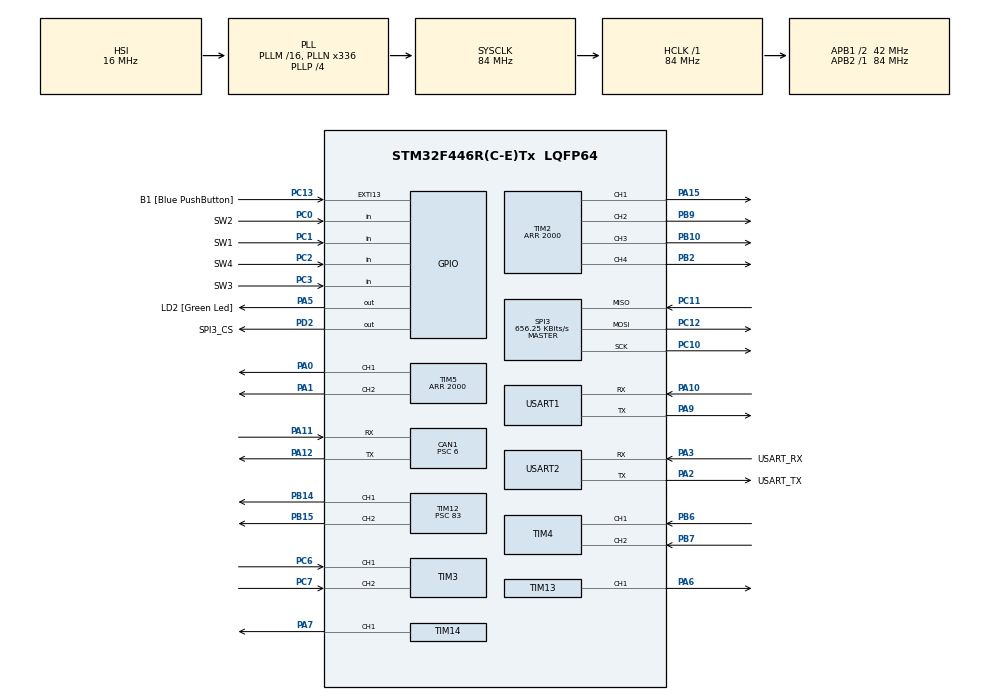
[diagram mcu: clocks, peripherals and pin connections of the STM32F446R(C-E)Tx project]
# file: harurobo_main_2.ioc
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CAN1.BS1=CAN_BS1_11TQ
CAN1.BS2=CAN_BS2_2TQ
CAN1.CalculateBaudRate=500000
CAN1.CalculateTimeBit=2000
CAN1.CalculateTimeQuantum=142.85714285714286
CAN1.Prescaler=6
Mcu.Family=STM32F4
Mcu.Name=STM32F446R(C-E)Tx
Mcu.Package=LQFP64
NVIC.PriorityGroup=NVIC_PRIORITYGROUP_0
NVIC.USART1_IRQn=true\:0\:0\:false\:false\:true\:true\:true
PA0-WKUP.Signal=S_TIM5_CH1
PA1.Signal=S_TIM5_CH2
PA10.Mode=Asynchronous
PA10.Signal=USART1_RX
PA11.Mode=CAN_Activate
PA11.Signal=CAN1_RX
PA12.Mode=CAN_Activate
PA12.Signal=CAN1_TX
PA13.GPIO_Label=TMS
PA13.Mode=Serial_Wire
PA13.Signal=SYS_JTMS-SWDIO
PA14.GPIO_Label=TCK
PA14.Mode=Serial_Wire
PA14.Signal=SYS_JTCK-SWCLK
PA15.Signal=S_TIM2_CH1_ETR
PA2.GPIO_Label=USART_TX
PA2.Mode=Asynchronous
PA2.Signal=USART2_TX
PA3.GPIO_Label=USART_RX
PA3.Mode=Asynchronous
PA3.Signal=USART2_RX
PA5.GPIO_Label=LD2 [Green Led]
PA5.Signal=GPIO_Output
PA6.Signal=S_TIM13_CH1
PA7.Signal=S_TIM14_CH1
PA9.Mode=Asynchronous
PA9.Signal=USART1_TX
PB10.Signal=S_TIM2_CH3
PB14.Signal=S_TIM12_CH1
PB15.Signal=S_TIM12_CH2
PB2.Signal=S_TIM2_CH4
PB3.GPIO_Label=SWO
PB3.Signal=SYS_JTDO-SWO
PB6.Signal=S_TIM4_CH1
PB7.Signal=S_TIM4_CH2
PB9.Signal=S_TIM2_CH2
PC0.GPIO_Label=SW2
PC0.GPIO_PuPd=GPIO_PULLUP
PC0.Signal=GPIO_Input
PC1.GPIO_Label=SW1
PC1.GPIO_PuPd=GPIO_PULLUP
PC1.Signal=GPIO_Input
PC10.Mode=Full_Duplex_Master
PC10.Signal=SPI3_SCK
PC11.Mode=Full_Duplex_Master
PC11.Signal=SPI3_MISO
PC12.Mode=Full_Duplex_Master
PC12.Signal=SPI3_MOSI
PC13.GPIO_Label=B1 [Blue PushButton]
PC13.GPIO_ModeDefaultEXTI=GPIO_MODE_IT_FALLING
PC13.Signal=GPXTI13
PC14-OSC32_IN.Mode=LSE-External-Oscillator
PC14-OSC32_IN.Signal=RCC_OSC32_IN
PC15-OSC32_OUT.Mode=LSE-External-Oscillator
PC15-OSC32_OUT.Signal=RCC_OSC32_OUT
PC2.GPIO_Label=SW4
PC2.GPIO_PuPd=GPIO_PULLUP
PC2.Signal=GPIO_Input
PC3.GPIO_Label=SW3
PC3.GPIO_PuPd=GPIO_PULLUP
PC3.Signal=GPIO_Input
PC6.Signal=S_TIM3_CH1
PC7.Signal=S_TIM3_CH2
PD2.GPIO_Label=SPI3_CS
PD2.PinState=GPIO_PIN_SET
PD2.Signal=GPIO_Output
PH0-OSC_IN.Mode=HSE-External-Oscillator
PH0-OSC_IN.Signal=RCC_OSC_IN
PH1-OSC_OUT.Mode=HSE-External-Oscillator
PH1-OSC_OUT.Signal=RCC_OSC_OUT
ProjectManager.HeapSize=0x200
ProjectManager.StackSize=0x400
ProjectManager.TargetToolchain=STM32CubeIDE
RCC.48MHZClocksFreq_Value=84000000
RCC.AHBFreq_Value=84000000
RCC.APB1CLKDivider=RCC_HCLK_DIV2
RCC.APB1Freq_Value=42000000
RCC.APB1TimFreq_Value=84000000
RCC.APB2Freq_Value=84000000
RCC.APB2TimFreq_Value=84000000
RCC.CortexFreq_Value=84000000
RCC.FLatency-AdvancedSettings=FLASH_LATENCY_2
RCC.HCLKFreq_Value=84000000
RCC.HSE_VALUE=8000000
RCC.HSI_VALUE=16000000
RCC.PLLN=336
RCC.PLLP=RCC_PLLP_DIV4
RCC.SYSCLKFreq_VALUE=84000000
RCC.SYSCLKSource=RCC_SYSCLKSOURCE_PLLCLK
RCC.USBFreq_Value=168000000
RCC.VCOOutputFreq_Value=336000000
SH.S_TIM12_CH1.0=TIM12_CH1,PWM Generation1 CH1
SH.S_TIM12_CH2.0=TIM12_CH2,PWM Generation2 CH2
SH.S_TIM13_CH1.0=TIM13_CH1,PWM Generation1 CH1
SH.S_TIM14_CH1.0=TIM14_CH1,PWM Generation1 CH1
SH.S_TIM2_CH1_ETR.0=TIM2_CH1,PWM Generation1 CH1
SH.S_TIM2_CH2.0=TIM2_CH2,PWM Generation2 CH2
SH.S_TIM2_CH3.0=TIM2_CH3,PWM Generation3 CH3
SH.S_TIM2_CH4.0=TIM2_CH4,PWM Generation4 CH4
SH.S_TIM3_CH1.0=TIM3_CH1,Encoder_Interface
SH.S_TIM3_CH2.0=TIM3_CH2,Encoder_Interface
SH.S_TIM4_CH1.0=TIM4_CH1,Encoder_Interface
SH.S_TIM4_CH2.0=TIM4_CH2,Encoder_Interface
SH.S_TIM5_CH1.0=TIM5_CH1,PWM Generation1 CH1
SH.S_TIM5_CH2.0=TIM5_CH2,PWM Generation2 CH2
SPI3.BaudRatePrescaler=SPI_BAUDRATEPRESCALER_64
SPI3.CLKPhase=SPI_PHASE_2EDGE
SPI3.CLKPolarity=SPI_POLARITY_HIGH
SPI3.CalculateBaudRate=656.25 KBits/s
SPI3.Direction=SPI_DIRECTION_2LINES
SPI3.Mode=SPI_MODE_MASTER
SPI3.VirtualType=VM_MASTER
TIM12.Channel-PWM\ Generation1\ CH1=TIM_CHANNEL_1
TIM12.Channel-PWM\ Generation2\ CH2=TIM_CHANNEL_2
TIM12.Period=9999
TIM12.Prescaler=83
TIM13.Channel=TIM_CHANNEL_1
TIM13.Period=9999
TIM13.Prescaler=83
TIM14.Channel=TIM_CHANNEL_1
TIM14.Period=9999
TIM14.Prescaler=83
TIM2.Channel-PWM\ Generation1\ CH1=TIM_CHANNEL_1
TIM2.Channel-PWM\ Generation2\ CH2=TIM_CHANNEL_2
TIM2.Channel-PWM\ Generation3\ CH3=TIM_CHANNEL_3
TIM2.Channel-PWM\ Generation4\ CH4=TIM_CHANNEL_4
TIM2.Period=2000
TIM3.EncoderMode=TIM_ENCODERMODE_TI12
TIM4.EncoderMode=TIM_ENCODERMODE_TI12
TIM5.Channel-PWM\ Generation1\ CH1=TIM_CHANNEL_1
TIM5.Channel-PWM\ Generation2\ CH2=TIM_CHANNEL_2
TIM5.Period=2000
TIM7.Prescaler=55
USART1.VirtualMode=VM_ASYNC
USART2.VirtualMode=VM_ASYNC
VP_TIM13_VS_ClockSourceINT.Mode=Enable_Timer
VP_TIM14_VS_ClockSourceINT.Mode=Enable_Timer
VP_TIM7_VS_ClockSourceINT.Mode=Enable_Timer
board=NUCLEO-F446RE

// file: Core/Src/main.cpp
/* USER CODE BEGIN Header */
/**
  ******************************************************************************
  * @file           : main.cpp
  * @brief          : 春ロボ2022のメインプログラム
  * @author         : naokichi
  * @date           : 2022/01/13~
  * TODO ジャイロセンサ
  * TODO LRボタン
  ******************************************************************************
  * @attention
  *
  * Copyright (c) 2022 STMicroelectronics.
  * All rights reserved.
  *
  * This software is licensed under terms that can be found in the LICENSE file
  * in the root directory of this software component.
  * If no LICENSE file comes with this software, it is provided AS-IS.
  *
  ******************************************************************************
  */
/* USER CODE END Header */
#include "main.h"
#include "can.h"
#include "spi.h"
#include "tim.h"
#include "usart.h"
#include "gpio.h"

/* USER CODE BEGIN Includes */
#include "stdio.h"
#include "math.h"
#include "MPU9250.h"

/* USER CODE END Includes */

/* USER CODE BEGIN PD */
uint8_t DS3_BTNS_DATMAP_BYTE[16] = {
    2, 2, 2, 2, 2, 2,/* 0, 0,*/ 2, 2, 2, 1, 1, 1, 1, 1
};

uint8_t DS3_BTNS_DATMAP_BITMASK[16] = {
    0x03, 0x0C, 0x03, 0x0C, 0x03, 0x0C,/* 0x00, 0x00,*/
    0x10, 0x40, 0x20, 0x01, 0x04, 0x10, 0x02, 0x08,
};

uint8_t DS3_BTNS_DATMAP_FLAGBIT[16] = {
    0x01, 0x04, 0x02, 0x08, 0x03, 0x0C,/* 0x00, 0x00,*/
    0x10, 0x40, 0x20, 0x01, 0x04, 0x10, 0x02, 0x08,
};

/* USER CODE END PD */

/* USER CODE BEGIN PV */
MPU9250 mpu9250;

uint8_t SBDBTRxData[8];
int buttonsIsPressed[16] = {0};
int LX = 64;
int LY = 64;
int RX = 64;
int RY = 64;

float theta = 45;

float vx_r = 0;
float vy_r = 0;
float omega_r = 0;

/* USER CODE END PV */

void SystemClock_Config(void);
/* USER CODE BEGIN PFP */
void Analyze_Raw_Data();
void Swerve();

/* USER CODE END PFP */

int main(void)
{
  /* USER CODE BEGIN 1 */
	setbuf(stdout, NULL);

  /* USER CODE END 1 */

  /* MCU Configuration--------------------------------------------------------*/

  /* Reset of all peripherals, Initializes the Flash interface and the Systick. */
  HAL_Init();

  /* Configure the system clock */
  SystemClock_Config();

  /* Initialize all configured peripherals */
  MX_GPIO_Init();
  MX_USART2_UART_Init();
  MX_CAN1_Init();
  MX_SPI3_Init();
  MX_TIM2_Init();
  MX_TIM3_Init();
  MX_TIM4_Init();
  MX_TIM5_Init();
  MX_TIM7_Init();
  MX_TIM12_Init();
  MX_TIM13_Init();
  MX_TIM14_Init();
  MX_USART1_UART_Init();
  /* USER CODE BEGIN 2 */
  LL_TIM_EnableCounter(TIM2);
  LL_TIM_CC_EnableChannel(TIM2, LL_TIM_CHANNEL_CH1);
  LL_TIM_CC_EnableChannel(TIM2, LL_TIM_CHANNEL_CH2);
  LL_TIM_CC_EnableChannel(TIM2, LL_TIM_CHANNEL_CH3);
  LL_TIM_CC_EnableChannel(TIM2, LL_TIM_CHANNEL_CH4);
  LL_TIM_OC_SetCompareCH1(TIM2, 1000);
  LL_TIM_OC_SetCompareCH2(TIM2, 1000);
  LL_TIM_OC_SetCompareCH3(TIM2, 1000);
  LL_TIM_OC_SetCompareCH4(TIM2, 1000);

  LL_TIM_EnableCounter(TIM5);
  LL_TIM_CC_EnableChannel(TIM5, LL_TIM_CHANNEL_CH1);
  LL_TIM_CC_EnableChannel(TIM5, LL_TIM_CHANNEL_CH2);
  LL_TIM_OC_SetCompareCH1(TIM5, 1000);
  LL_TIM_OC_SetCompareCH2(TIM5, 1000);

  LL_TIM_EnableCounter(TIM12);
  LL_TIM_CC_EnableChannel(TIM12, LL_TIM_CHANNEL_CH1);
  LL_TIM_CC_EnableChannel(TIM12, LL_TIM_CHANNEL_CH2);
  LL_TIM_OC_SetCompareCH1(TIM12, 500);
  LL_TIM_OC_SetCompareCH2(TIM12, 500);

  LL_TIM_EnableCounter(TIM13);
  LL_TIM_CC_EnableChannel(TIM13, LL_TIM_CHANNEL_CH1);
  LL_TIM_OC_SetCompareCH1(TIM13, 500);

  LL_TIM_EnableCounter(TIM14);
  LL_TIM_CC_EnableChannel(TIM14, LL_TIM_CHANNEL_CH1);
  LL_TIM_OC_SetCompareCH1(TIM14, 500);

  mpu9250.init(hspi3, SPI3_CS_GPIO_Port, SPI3_CS_Pin, ACCEL_RANGE_16G, GYRO_RANGE_1000dps);
  HAL_UART_Receive_IT(&huart1, SBDBTRxData, 8);
  printf("Calibration in progress...\r\n");
  mpu9250.calibration();
  HAL_GPIO_WritePin(LD2_GPIO_Port, LD2_Pin, GPIO_PIN_SET);

  LL_TIM_EnableCounter(TIM7);

  /* USER CODE END 2 */

  /* Infinite loop */
  while (1)
  {

    /* USER CODE BEGIN 3 */
	  LL_TIM_SetCounter(TIM7, 0);

	  mpu9250.update9DOF();
	  theta += mpu9250.gz*0.0123f;		// とりあえず0.0123
	  //printf("%f\r\n", theta);

	  vx_r = (RX-64) * 7.0f;	// とりあえずスティックの値の7倍
	  vy_r = (64-RY) * 7.0f;	// とりあえずスティックの値の7倍
	  //printf("%f\r\n", sqrtf(vx_r*vx_r+vy_r*vy_r));

	  if(buttonsIsPressed[12]){
		  omega_r = 1000.0f;	// とりあえず1000
	  }else if(buttonsIsPressed[13]){
		  omega_r = -1000.0f;	// とりあえず-1000
	  }else{
		  omega_r = 0;
	  }

	  if(buttonsIsPressed[1]){
		  LL_TIM_OC_SetCompareCH1(TIM5, 1400);
	  }else if(buttonsIsPressed[3]){
		  LL_TIM_OC_SetCompareCH1(TIM5, 600);
	  }else{
		  LL_TIM_OC_SetCompareCH1(TIM5, 1000);
	  }

	  Swerve();

	  int count = LL_TIM_GetCounter(TIM7);
	  printf("%d[us]\r\n", count);

	  HAL_Delay(10);
  }
  /* USER CODE END 3 */
}

void SystemClock_Config(void)
{
  RCC_OscInitTypeDef RCC_OscInitStruct = {0};
  RCC_ClkInitTypeDef RCC_ClkInitStruct = {0};

  /** Configure the main internal regulator output voltage
  */
  __HAL_RCC_PWR_CLK_ENABLE();
  __HAL_PWR_VOLTAGESCALING_CONFIG(PWR_REGULATOR_VOLTAGE_SCALE3);
  /** Initializes the RCC Oscillators according to the specified parameters
  * in the RCC_OscInitTypeDef structure.
  */
  RCC_OscInitStruct.OscillatorType = RCC_OSCILLATORTYPE_HSI;
  RCC_OscInitStruct.HSIState = RCC_HSI_ON;
  RCC_OscInitStruct.HSICalibrationValue = RCC_HSICALIBRATION_DEFAULT;
  RCC_OscInitStruct.PLL.PLLState = RCC_PLL_ON;
  RCC_OscInitStruct.PLL.PLLSource = RCC_PLLSOURCE_HSI;
  RCC_OscInitStruct.PLL.PLLM = 16;
  RCC_OscInitStruct.PLL.PLLN = 336;
  RCC_OscInitStruct.PLL.PLLP = RCC_PLLP_DIV4;
  RCC_OscInitStruct.PLL.PLLQ = 2;
  RCC_OscInitStruct.PLL.PLLR = 2;
  if (HAL_RCC_OscConfig(&RCC_OscInitStruct) != HAL_OK)
  {
    Error_Handler();
  }
  /** Initializes the CPU, AHB and APB buses clocks
  */
  RCC_ClkInitStruct.ClockType = RCC_CLOCKTYPE_HCLK|RCC_CLOCKTYPE_SYSCLK
                              |RCC_CLOCKTYPE_PCLK1|RCC_CLOCKTYPE_PCLK2;
  RCC_ClkInitStruct.SYSCLKSource = RCC_SYSCLKSOURCE_PLLCLK;
  RCC_ClkInitStruct.AHBCLKDivider = RCC_SYSCLK_DIV1;
  RCC_ClkInitStruct.APB1CLKDivider = RCC_HCLK_DIV2;
  RCC_ClkInitStruct.APB2CLKDivider = RCC_HCLK_DIV1;

  if (HAL_RCC_ClockConfig(&RCC_ClkInitStruct, FLASH_LATENCY_2) != HAL_OK)
  {
    Error_Handler();
  }
}

/* USER CODE BEGIN 4 */
extern "C" int _write(int file, char *ptr, int len)
{
    HAL_UART_Transmit(&huart2, (uint8_t *)ptr, len, 10);
    return len;
}

/**
  * @brief UARTの受信コールバック
  * @note  一度に8バイト受信する
  */
extern "C" void HAL_UART_RxCpltCallback(UART_HandleTypeDef *UartHandle)
{
    HAL_UART_Receive_IT(&huart1, SBDBTRxData, 8);
    Analyze_Raw_Data();
}

/**
  * @brief SBDBTから送られてきたデータを解析する
  * @param[out] buttonIsPressed コントローラのボタンが押されているか
  * @param[out] LX, LY, RX, RY  コントローラのスティックの状態
  */
void Analyze_Raw_Data()
{
    for(int i=0; i<16; i++){
    	int f = (SBDBTRxData[DS3_BTNS_DATMAP_BYTE[i]] & DS3_BTNS_DATMAP_BITMASK[i]) == DS3_BTNS_DATMAP_FLAGBIT[i];
        buttonsIsPressed[i] = f;
    }
    LX = SBDBTRxData[3];
    LY = SBDBTRxData[4];
    RX = SBDBTRxData[5];
    RY = SBDBTRxData[6];
}

/**
  * @brief Swerve
  * @param[in] vx_r x軸速度の目標値
  * @param[in] vy_r y軸速度の目標値
  * @param[in] omega_r 回転の角速度の目標値
  * @note esaのSwerveDriveの記事を参照してください
  */
void Swerve()
{
	const float R = 0.283f;		// ロボット中心からホイールまでの距離[m]

	float vx[4];				// i番目のホイールのx軸速度
	float vy[4];				// i番目のホイールのy軸速度
	float v[4];					// i番目のホイールの速さ
	float steering_angle[4];	// i番目のホイールのステアリング角度

	for(int i=0; i<4; i++){
		vx[i] = vx_r - R*omega_r*sinf((theta + i*90.0f) * (M_PI / 180.0f));
		//vx[i] = vx_r;
		vy[i] = vy_r + R*omega_r*cosf((theta + i*90.0f) * (M_PI / 180.0f));
		//vy[i] = vy_r;

		v[i] = sqrtf(vx[i]*vx[i] + vy[i]*vy[i]);

		steering_angle[i] = atan2f(vy[i], vx[i]);
		steering_angle[i] *= 180.0f / M_PI;	// [rad]→[deg]
		steering_angle[i] += 45.0f - theta;	// ローカル座標に変換
		steering_angle[i] = fmodf(steering_angle[i], 180.0f);	// -180°~180°にする
		if(steering_angle[i] < 0){			// 負の時は
			steering_angle[i] += 180.0f;	// 反対向きにして
			v[i] *= -1;						// 逆転する
		}
		//printf("%d:%f ", i, steering_angle[i]);
		steering_angle[i] *= 2000.0f / 202.5f;	// [deg]→[サーボモータへの指令値]
	}
	//printf("\r\n");

	if(buttonsIsPressed[0]){
		LL_TIM_OC_SetCompareCH1(TIM2, 1000 + (int)v[0]);
		LL_TIM_OC_SetCompareCH1(TIM12, 500 + (int)steering_angle[0]);

		LL_TIM_OC_SetCompareCH2(TIM2, 1000 + (int)v[1]);
		LL_TIM_OC_SetCompareCH2(TIM12, 500 + (int)steering_angle[1]);

		LL_TIM_OC_SetCompareCH3(TIM2, 1000 + (int)v[2]);
		LL_TIM_OC_SetCompareCH1(TIM13, 500 + (int)steering_angle[2]);

		LL_TIM_OC_SetCompareCH4(TIM2, 1000 + (int)v[3]);
		LL_TIM_OC_SetCompareCH1(TIM14, 500 + (int)steering_angle[3]);
	}else{
		LL_TIM_OC_SetCompareCH1(TIM2, 1000);
		LL_TIM_OC_SetCompareCH1(TIM12, 500 + (int)steering_angle[0]);
		//LL_TIM_OC_SetCompareCH1(TIM12, 500);

		LL_TIM_OC_SetCompareCH2(TIM2, 1000);
		LL_TIM_OC_SetCompareCH2(TIM12, 500 + (int)steering_angle[1]);
		//LL_TIM_OC_SetCompareCH2(TIM12, 500);

		LL_TIM_OC_SetCompareCH3(TIM2, 1000);
		LL_TIM_OC_SetCompareCH1(TIM13, 500 + (int)steering_angle[2]);
		//LL_TIM_OC_SetCompareCH1(TIM13, 500);

		LL_TIM_OC_SetCompareCH4(TIM2, 1000);
		LL_TIM_OC_SetCompareCH1(TIM14, 500 + (int)steering_angle[3]);
		//LL_TIM_OC_SetCompareCH1(TIM14, 500);
	}
}

/* USER CODE END 4 */

void Error_Handler(void)
{
  __disable_irq();
  while (1)
  {
  }
}
